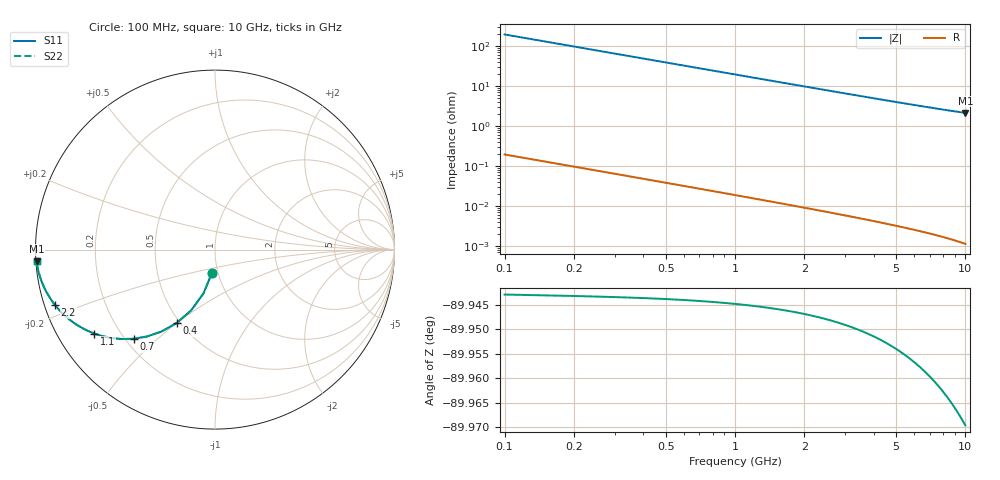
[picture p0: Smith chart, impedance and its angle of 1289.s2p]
# Hz S RI R 50.00
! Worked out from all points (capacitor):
!   100 points, 100 MHz to 10 GHz, reference 50 ohm
!   read as one part in shunt: C = 8.29 pF near 100 MHz
!   lowest |Z| = 2.1 ohm at 10 GHz (marker M1)
!   S11 on the Smith chart (normalised r, x): 100 MHz: 0.94, -0.24; 400 MHz: 0.48, -0.50; 700 MHz: 0.23, -0.42; 1.1 GHz: 0.11, -0.31; 2.2 GHz: 0.03, -0.17; 10 GHz: 0.00, -0.03
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1e8  -0.0168 -0.1279  0.9832 -0.1281  0.9832 -0.1281  -0.0168 -0.1279
2e8  -0.0637 -0.2436  0.9362 -0.2439  0.9362 -0.2439  -0.0637 -0.2436
3e8  -0.1326 -0.3384  0.8673 -0.3389  0.8673 -0.3389  -0.1326 -0.3384
4e8  -0.2136 -0.409  0.7863 -0.4097  0.7863 -0.4097  -0.2136 -0.409
5e8  -0.2978 -0.4564  0.7021 -0.4573  0.7021 -0.4573  -0.2978 -0.4564
6e8  -0.3791 -0.4841  0.6208 -0.4852  0.6208 -0.4852  -0.3791 -0.4841
7e8  -0.4538 -0.4967  0.5462 -0.498  0.5462 -0.498  -0.4538 -0.4967
8e8  -0.5203 -0.4984  0.4796 -0.4998  0.4796 -0.4998  -0.5203 -0.4984
9e8  -0.5785 -0.4925  0.4214 -0.4941  0.4214 -0.4941  -0.5785 -0.4925
1.1e9  -0.672 -0.468  0.3279 -0.4699  0.3279 -0.4699  -0.672 -0.468
1.2e9  -0.7092 -0.4526  0.2908 -0.4547  0.2908 -0.4547  -0.7092 -0.4526
1.4e9  -0.7684 -0.4201  0.2315 -0.4226  0.2315 -0.4226  -0.7684 -0.4201
1.6e9  -0.8124 -0.3884  0.1875 -0.3912  0.1875 -0.3912  -0.8124 -0.3884
1.8e9  -0.8457 -0.3591  0.1542 -0.3623  0.1542 -0.3623  -0.8457 -0.3591
2.2e9  -0.8911 -0.309  0.1088 -0.3129  0.1088 -0.3129  -0.8911 -0.309
2.7e9  -0.9249 -0.2605  0.075 -0.2653  0.075 -0.2653  -0.9249 -0.2605
3.4e9  -0.9513 -0.2115  0.0486 -0.2176  0.0486 -0.2176  -0.9513 -0.2115
4.2e9  -0.9676 -0.1727  0.0323 -0.1802  0.0323 -0.1802  -0.9676 -0.1727
5.1e9  -0.9778 -0.1419  0.0221 -0.1511  0.0221 -0.1511  -0.9778 -0.1419
6.7e9  -0.9871 -0.1059  0.0127 -0.1181  0.0127 -0.1181  -0.9871 -0.1059
8.4e9  -0.9918 -0.0812  0.00798 -0.0967  0.00798 -0.0967  -0.9918 -0.0812
1e10  -0.9942 -0.0648  0.00549 -0.0835  0.00549 -0.0835  -0.9942 -0.0648
